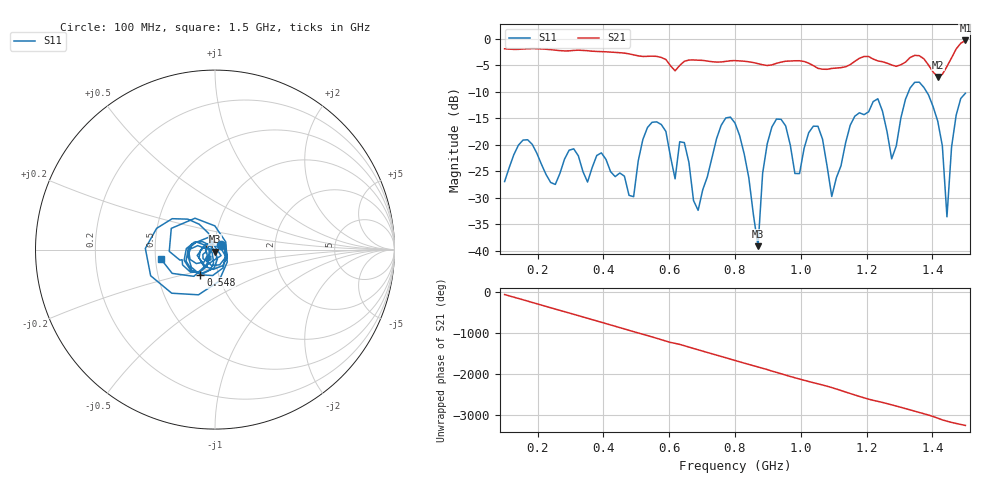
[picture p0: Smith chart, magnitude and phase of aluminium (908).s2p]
! NanoVNA-App
! Date: 2025-09-25 15:02:21
! Start: 100MHz Stop: 1,5GHz Points: 101
! S-Parameter data: F S11 S21 S12 S22
# Hz S RI R 50
!  Frequency  S11_Real  S11_Imag  S21_Real  S21_Imag  S12_Real  S12_Imag  S22_Real  S22_Imag
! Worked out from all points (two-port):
!   101 points, 100 MHz to 1.5 GHz, reference 50 ohm
!   highest |S21| = -0.35 dB at 1.5 GHz (marker M1); lowest = -7.2 dB at 1.416 GHz (marker M2)
!   |S21| within 3 dB of the highest: start of sweep to 517.5 MHz; 1.46 GHz to end of sweep (the widest 2 of 4)
!   lowest |S11| = -39.1 dB at 870 MHz (marker M3), VSWR 1.02, Z = 50.2 - j1.09 ohm
!   |S11| at or under -10 dB: start of sweep to 1.327 GHz; 1.382 GHz to end of sweep
!   S12 and S22 are empty: the file has one direction only
!   S11 on the Smith chart (normalised r, x): 100 MHz: 1.07, +0.06; 548 MHz: 0.82, -0.24; 1.5 GHz: 0.54, -0.06
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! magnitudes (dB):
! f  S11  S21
! 100 MHz  -27.0  -1.9
! 156 MHz  -19.1  -2.0
! 338 MHz  -25.1  -2.2
! 492 MHz  -29.8  -3.1
! 548 MHz  -15.8  -3.3
! 576 MHz  -16.2  -3.6
! 618 MHz  -26.4  -6.1
! 646 MHz  -19.6  -4.3
! 688 MHz  -32.4  -4.1
! 800 MHz  -15.9  -4.1
! 870 MHz  -39.1  -4.7
! 912 MHz  -16.7  -5.0
! 996 MHz  -25.5  -4.2
! 1.038 GHz  -16.5  -5.1
! 1.094 GHz  -29.8  -5.6
! 1.22 GHz  -11.9  -3.9
! 1.276 GHz  -22.7  -5.0
! 1.346 GHz  -8.2  -3.2
! 1.416 GHz  -15.6  -7.2
! 1.444 GHz  -33.6  -5.2
! 1.472 GHz  -14.4  -1.9
! 1.5 GHz  -10.3  -0.3
